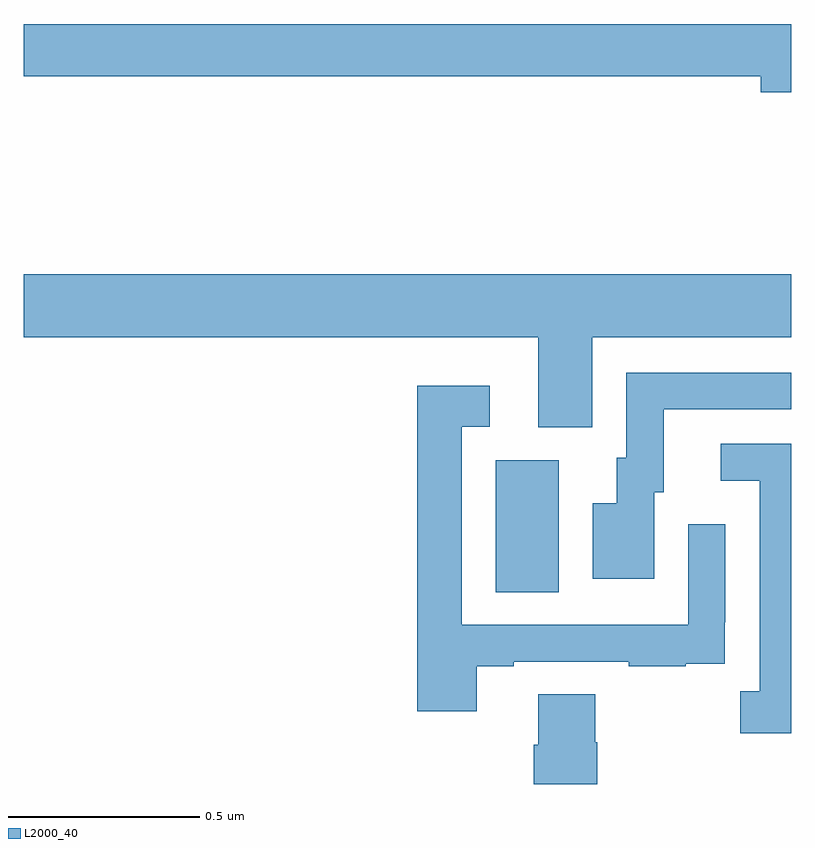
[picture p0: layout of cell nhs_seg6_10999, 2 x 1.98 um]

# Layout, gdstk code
import gdstk
lib = gdstk.Library(unit=1e-6, precision=1e-09)
def R(c, l, rs):  # rectangles x0, y0, x1, y1
    for r in rs: c.add(gdstk.rectangle(r[:2], r[2:], *l))
def P(c, l, *ps):  # polygons
    for p in ps: c.add(gdstk.Polygon(p, *l))
L2000_40 = (2000, 40)

nhs_seg6_10999 = lib.new_cell('nhs_seg6_10999')
R(nhs_seg6_10999, L2000_40, [(255.23,952,255.394,952.344)])
P(nhs_seg6_10999, L2000_40, [(256,953.48),(254,953.48),(254,953.344),(255.92,953.344),(255.92,953.302),(256,953.302)],
  [(254,952.664),(255.341,952.664),(255.341,952.429),(255.481,952.429),(255.481,952.664),(256,952.664),(256,952.828),(254,952.828)],
  [(255.643,952.26),(255.667,952.26),(255.667,952.476),(256,952.476),(256,952.572),(255.57,952.572),(255.57,952.35),(255.545,952.35),(255.545,952.231),(255.482,952.231),(255.482,952.035),(255.643,952.035)],
  [(255.181,951.807),(255.277,951.807),(255.277,951.819),(255.577,951.819),(255.577,951.807),(255.725,951.807),(255.725,951.813),(255.827,951.813),(255.827,951.922),(255.828,951.922),(255.828,952.177),(255.732,952.177),(255.732,951.915),(255.141,951.915),(255.141,952.431),(255.214,952.431),(255.214,952.537),(255.025,952.537),(255.025,951.69),(255.181,951.69)],
  [(256,952.386),(255.816,952.386),(255.816,952.29),(255.918,952.29),(255.918,951.742),(255.867,951.742),(255.867,951.632),(256,951.632)],
  [(255.494,951.609),(255.489,951.609),(255.489,951.734),(255.341,951.734),(255.341,951.602),(255.329,951.602),(255.329,951.5),(255.494,951.5)])

lib.write_gds('nhs_seg6_10999.gds')
